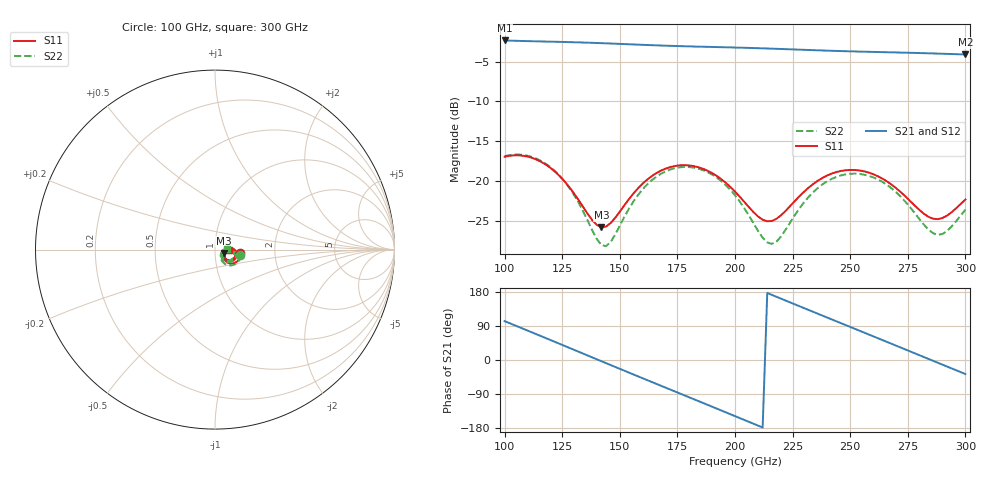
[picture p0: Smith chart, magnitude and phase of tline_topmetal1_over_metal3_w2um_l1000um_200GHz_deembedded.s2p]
! Created with skrf 2.2.0 (http://scikit-rf.org).
# GHz S DB R 50.0
! Port[1] = P1
! Port[2] = P2
!freq dBS11 angS11 dBS21 angS21 dBS12 angS12 dBS22 angS22
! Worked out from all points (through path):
!   101 points, 100 GHz to 300 GHz, reference 50 ohm
!   highest |S21| = -2.34 dB at 100 GHz (marker M1); lowest = -4.1 dB at 300 GHz (marker M2)
!   group delay of S21, straight-line fit = 6.94 ps
!   lowest |S11| = -25.8 dB at 142 GHz (marker M3), VSWR 1.11, Z = 54.9 - j2.15 ohm
!   |S11| at or under -10 dB: start of sweep to end of sweep
!   |S22| runs from -28.2 to -16.7 dB; largest |S21 - S12| = 1.3e-13
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100  -16.95 -8.5  -2.34 102.6  -2.34 102.6  -16.88 -11.5
108  -16.82 -21.7  -2.41 82.6  -2.41 82.6  -16.72 -25.9
116  -17.61 -34.2  -2.46 62.5  -2.46 62.5  -17.50 -39.9
126  -20.03 -45.7  -2.53 37.3  -2.53 37.3  -20.04 -54.4
134  -23.22 -44.9  -2.60 17.1  -2.60 17.1  -23.75 -57.5
142  -25.80 -22.3  -2.68 -3.1  -2.68 -3.1  -28.03 -32.7
146  -25.29 -7.2  -2.72 -13.2  -2.72 -13.2  -27.67 -9.7
154  -22.26 5.7  -2.82 -33.3  -2.82 -33.3  -23.46 8.4
168  -18.67 -4.6  -2.97 -68.3  -2.97 -68.3  -19.06 -4.5
176  -18.03 -15.5  -3.05 -88.2  -3.05 -88.2  -18.27 -17.3
184  -18.25 -26.8  -3.11 -108.1  -3.11 -108.1  -18.43 -30.4
200  -21.32 -41.8  -3.23 -148.1  -3.23 -148.1  -21.78 -51.1
208  -23.90 -36.5  -3.29 -168.1  -3.29 -168.1  -25.29 -49.1
216  -25.01 -16.3  -3.37 171.8  -3.37 171.8  -27.89 -21.6
224  -23.12 -0.8  -3.45 151.8  -3.45 151.8  -25.18 3.8
234  -20.36 -1.3  -3.56 126.9  -3.56 126.9  -21.38 3.3
250  -18.60 -19.1  -3.70 87.3  -3.70 87.3  -19.08 -17.8
258  -18.93 -29.1  -3.76 67.5  -3.76 67.5  -19.34 -29.6
268  -20.45 -38.8  -3.83 42.6  -3.83 42.6  -20.92 -41.8
278  -23.07 -38.8  -3.90 17.7  -3.90 17.7  -24.02 -44.5
288  -24.78 -20.2  -3.99 -7.2  -3.99 -7.2  -26.75 -22.4
300  -22.32 -2.5  -4.10 -37.0  -4.10 -37.0  -23.60 2.5
